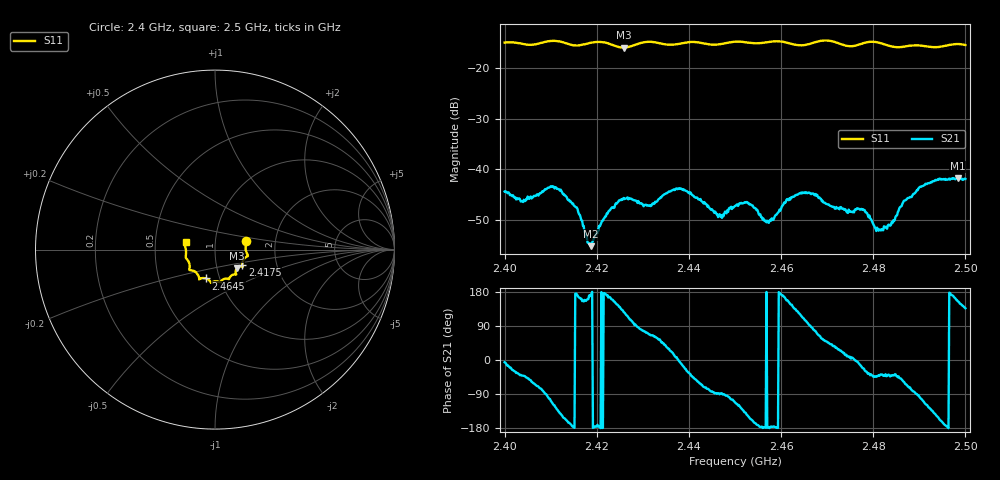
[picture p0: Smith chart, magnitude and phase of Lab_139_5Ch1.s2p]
# Hz S RI R 50
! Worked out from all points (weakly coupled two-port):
!   601 points, 2.4 GHz to 2.5 GHz, reference 50 ohm
!   highest |S21| = -41.74 dB at 2.4983 GHz (marker M1); lowest = -55.2 dB at 2.4187 GHz (marker M2)
!   lowest |S11| = -15.9 dB at 2.4258 GHz (marker M3), VSWR 1.38, Z = 62.3 - j13.2 ohm
!   |S11| at or under -10 dB: start of sweep to end of sweep
!   S12 and S22 are empty: the file has one direction only
!   S11 on the Smith chart (normalised r, x): 2.4 GHz: 1.41, +0.14; 2.4175 GHz: 1.34, -0.23; 2.4645 GHz: 0.86, -0.28; 2.5 GHz: 0.72, +0.06
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2.4e9  0.1728 0.0488  0.006 -0.000625  0 0  0 0
2.404e9  0.172 0.0252  0.00357 -0.00314  0 0  0 0
2.410667e9  0.1834 -0.0348  -0.00328 -0.00588  0 0  0 0
2.416667e9  0.1527 -0.074  -0.00297 0.000985  0 0  0 0
2.4175e9  0.1519 -0.0832  -0.00218 0.000919  0 0  0 0
2.418667e9  0.1528 -0.0927  -0.00172 0.000259  0 0  0 0
2.422667e9  0.1476 -0.0942  -0.00379 0.000902  0 0  0 0
2.425833e9  0.122 -0.1033  -0.00311 0.00418  0 0  0 0
2.433333e9  0.113 -0.1373  0.00288 0.00411  0 0  0 0
2.437833e9  0.0832 -0.1531  0.00649 -0.00034  0 0  0 0
2.446667e9  0.043 -0.1675  -3.54e-05 -0.0036  0 0  0 0
2.45e9  0.0289 -0.1809  -0.00162 -0.00403  0 0  0 0
2.453e9  0.0172 -0.178  -0.00401 -0.00229  0 0  0 0
2.457333e9  -0.0153 -0.1811  -0.00295 -7.09e-05  0 0  0 0
2.4645e9  -0.0517 -0.1605  -0.00242 0.00523  0 0  0 0
2.466667e9  -0.0758 -0.1595  0.000432 0.00575  0 0  0 0
2.477833e9  -0.1339 -0.1153  0.00373 -0.0015  0 0  0 0
2.481e9  -0.1431 -0.1089  0.00188 -0.00168  0 0  0 0
2.483333e9  -0.1409 -0.0901  0.00222 -0.00177  0 0  0 0
2.490333e9  -0.163 -0.0387  -0.00139 -0.00656  0 0  0 0
2.498333e9  -0.1702 0.0339  -0.00742 0.00346  0 0  0 0
2.5e9  -0.1641 0.0434  -0.00584 0.00553  0 0  0 0
